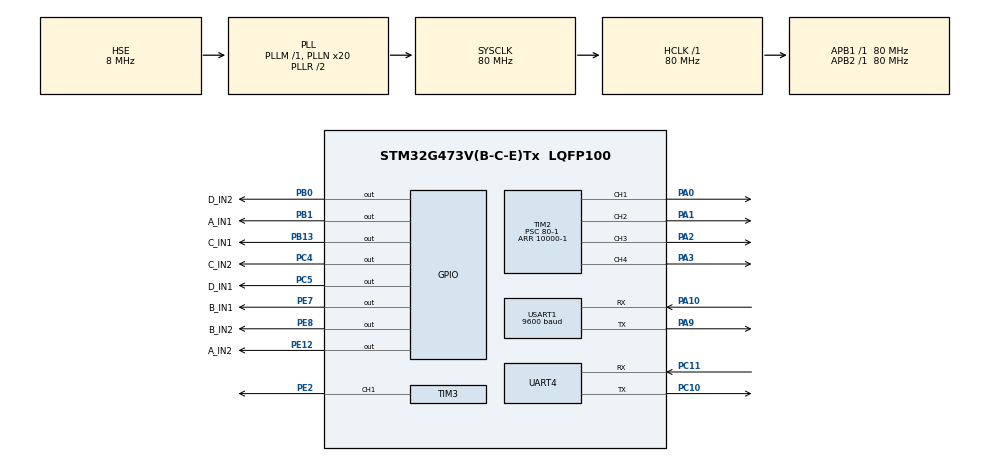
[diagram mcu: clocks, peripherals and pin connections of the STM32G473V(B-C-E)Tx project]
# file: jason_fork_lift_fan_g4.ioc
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Mcu.Family=STM32G4
Mcu.Name=STM32G473V(B-C-E)Tx
Mcu.Package=LQFP100
NVIC.PriorityGroup=NVIC_PRIORITYGROUP_4
PA0.Signal=S_TIM2_CH1
PA1.Signal=S_TIM2_CH2
PA10.Mode=Asynchronous
PA10.Signal=USART1_RX
PA13.Mode=Serial_Wire
PA13.Signal=SYS_JTMS-SWDIO
PA14.Mode=Serial_Wire
PA14.Signal=SYS_JTCK-SWCLK
PA2.Signal=S_TIM2_CH3
PA3.Signal=S_TIM2_CH4
PA9.Mode=Asynchronous
PA9.Signal=USART1_TX
PB0.GPIO_Label=D_IN2
PB0.Signal=GPIO_Output
PB1.GPIO_Label=A_IN1
PB1.Signal=GPIO_Output
PB13.GPIO_Label=C_IN1
PB13.Signal=GPIO_Output
PC10.Mode=Asynchronous
PC10.Signal=UART4_TX
PC11.Mode=Asynchronous
PC11.Signal=UART4_RX
PC14-OSC32_IN.Mode=LSE-External-Oscillator
PC14-OSC32_IN.Signal=RCC_OSC32_IN
PC15-OSC32_OUT.Mode=LSE-External-Oscillator
PC15-OSC32_OUT.Signal=RCC_OSC32_OUT
PC4.GPIO_Label=C_IN2
PC4.Signal=GPIO_Output
PC5.GPIO_Label=D_IN1
PC5.Signal=GPIO_Output
PE12.GPIO_Label=A_IN2
PE12.Signal=GPIO_Output
PE2.Signal=S_TIM3_CH1
PE7.GPIO_Label=B_IN1
PE7.Signal=GPIO_Output
PE8.GPIO_Label=B_IN2
PE8.Signal=GPIO_Output
PF0-OSC_IN.Mode=HSE-External-Oscillator
PF0-OSC_IN.Signal=RCC_OSC_IN
PF1-OSC_OUT.Mode=HSE-External-Oscillator
PF1-OSC_OUT.Signal=RCC_OSC_OUT
ProjectManager.HeapSize=0x200
ProjectManager.StackSize=0x400
ProjectManager.TargetToolchain=STM32CubeIDE
RCC.ADC12Freq_Value=80000000
RCC.ADC345Freq_Value=80000000
RCC.AHBFreq_Value=80000000
RCC.APB1Freq_Value=80000000
RCC.APB1TimFreq_Value=80000000
RCC.APB2Freq_Value=80000000
RCC.APB2TimFreq_Value=80000000
RCC.CortexFreq_Value=80000000
RCC.EXTERNAL_CLOCK_VALUE=12288000
RCC.HCLKFreq_Value=80000000
RCC.HSE_VALUE=8000000
RCC.HSI48_VALUE=48000000
RCC.HSI_VALUE=16000000
RCC.PLLN=20
RCC.PLLSourceVirtual=RCC_PLLSOURCE_HSE
RCC.SYSCLKFreq_VALUE=80000000
RCC.SYSCLKSource=RCC_SYSCLKSOURCE_PLLCLK
RCC.USBFreq_Value=80000000
RCC.VCOOutputFreq_Value=160000000
SH.S_TIM2_CH1.0=TIM2_CH1,PWM Generation1 CH1
SH.S_TIM2_CH2.0=TIM2_CH2,PWM Generation2 CH2
SH.S_TIM2_CH3.0=TIM2_CH3,PWM Generation3 CH3
SH.S_TIM2_CH4.0=TIM2_CH4,PWM Generation4 CH4
SH.S_TIM3_CH1.0=TIM3_CH1,PWM Generation1 CH1
TIM2.AutoReloadPreload=TIM_AUTORELOAD_PRELOAD_ENABLE
TIM2.Channel-PWM\ Generation1\ CH1=TIM_CHANNEL_1
TIM2.Channel-PWM\ Generation2\ CH2=TIM_CHANNEL_2
TIM2.Channel-PWM\ Generation3\ CH3=TIM_CHANNEL_3
TIM2.Channel-PWM\ Generation4\ CH4=TIM_CHANNEL_4
TIM2.PeriodNoDither=10000-1
TIM2.Prescaler=80-1
TIM3.AutoReloadPreload=TIM_AUTORELOAD_PRELOAD_ENABLE
TIM3.Channel-PWM\ Generation1\ CH1=TIM_CHANNEL_1
TIM3.PeriodNoDither=20000-1
TIM3.Prescaler=80-1
USART1.BaudRate=9600
USART1.VirtualMode-Asynchronous=VM_ASYNC
VP_SYS_VS_DBSignals.Mode=DisableDeadBatterySignals
VP_TIM2_VS_ClockSourceINT.Mode=Internal
VP_TIM3_VS_ClockSourceINT.Mode=Internal
board=custom

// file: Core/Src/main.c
/* USER CODE BEGIN Header */
/**
 ******************************************************************************
 * @file           : main.c
 * @brief          : Main program body
 ******************************************************************************
 * @attention
 *
 * Copyright (c) 2025 STMicroelectronics.
 * All rights reserved.
 *
 * This software is licensed under terms that can be found in the LICENSE file
 * in the root directory of this software component.
 * If no LICENSE file comes with this software, it is provided AS-IS.
 *
 ******************************************************************************
 */
/* USER CODE END Header */
#include "main.h"
#include "tim.h"
#include "usart.h"
#include "gpio.h"

/* USER CODE BEGIN Includes */
#include "auto_path.h"
#include "communication.h"
#include "controller.h"
#include "mech.h"
#include "movement.h"
#include "robot.h"
#include "servo.h"

/* USER CODE END Includes */

/* USER CODE BEGIN PD */
#define TEST 1
/* USER CODE END PD */

/* USER CODE BEGIN PV */
int time_stamp = 0;
int test_var = 0;
char testing = 'r';
/* USER CODE END PV */

void SystemClock_Config(void);

int main(void)
{

  /* MCU Configuration--------------------------------------------------------*/

  /* Reset of all peripherals, Initializes the Flash interface and the Systick. */
  HAL_Init();

  /* Configure the system clock */
  SystemClock_Config();

  /* Initialize all configured peripherals */
  MX_GPIO_Init();
  MX_TIM2_Init();
  MX_TIM3_Init();
  MX_USART1_UART_Init();
  MX_UART4_Init();
  /* USER CODE BEGIN 2 */
  HAL_TIM_PWM_Start(&htim2, TIM_CHANNEL_1);
  HAL_TIM_PWM_Start(&htim2, TIM_CHANNEL_2);
  HAL_TIM_PWM_Start(&htim2, TIM_CHANNEL_3);
  HAL_TIM_PWM_Start(&htim2, TIM_CHANNEL_4);
  HAL_TIM_PWM_Start(&htim3, TIM_CHANNEL_1);

  /* USER CODE END 2 */

  /* Infinite loop */
  while (1) {

    /* USER CODE BEGIN 3 */
    HAL_Delay(1);
#if (TEST == 0)
    HAL_UART_Receive(&huart1, controller_buffer, sizeof(controller_buffer), 0xFFFF);
    parse_controller_data(controller_buffer, &controller_state);
    if (controller_state.options_button && !prev_turn_on) {  // turn on/off the robot
      turn_on = !turn_on;
      // HAL_GPIO_WritePin(LED_1_GPIO_Port, LED_1_Pin, turn_on ? GPIO_PIN_RESET : GPIO_PIN_SET);
      if (!turn_on) {
        HAL_GPIO_WritePin(LED_1_GPIO_Port, LED_1_Pin, GPIO_PIN_RESET);
        HAL_GPIO_WritePin(LED_2_GPIO_Port, LED_2_Pin, GPIO_PIN_RESET);
      } else {
        HAL_GPIO_WritePin(LED_1_GPIO_Port, LED_1_Pin, GPIO_PIN_SET);
        HAL_GPIO_WritePin(LED_2_GPIO_Port, LED_2_Pin, GPIO_PIN_SET);
      }
    }
    prev_turn_on = controller_state.options_button;

    if (turn_on) {
      if (auto_path_selection == LEFT_PATH) {
        HAL_GPIO_WritePin(LED_1_GPIO_Port, LED_1_Pin, GPIO_PIN_SET);
        HAL_GPIO_WritePin(LED_2_GPIO_Port, LED_2_Pin, GPIO_PIN_SET);
      } else if (auto_path_selection == MID_PATH) {
        HAL_GPIO_WritePin(LED_1_GPIO_Port, LED_1_Pin, GPIO_PIN_SET);
        HAL_GPIO_WritePin(LED_2_GPIO_Port, LED_2_Pin, GPIO_PIN_RESET);
      } else if (auto_path_selection == RIGHT_PATH) {
        HAL_GPIO_WritePin(LED_1_GPIO_Port, LED_1_Pin, GPIO_PIN_RESET);
        HAL_GPIO_WritePin(LED_2_GPIO_Port, LED_2_Pin, GPIO_PIN_SET);
      }

      float rotation_vel = (controller_state.l2_pressure / 1024.0 + controller_state.r2_pressure / -1024.0) * 100.0;

      if (controller_state.ps_button && !prev_auto_path_enable) {  // auto, line following
        auto_path_enable = !auto_path_enable;
        if (auto_path_enable)
          follow_auto_path(auto_path_selection);
      }
      prev_auto_path_enable = controller_state.ps_button;

      if (controller_state.square && !prev_auto_path_switch) {
        auto_path_switch = !auto_path_switch;
        if (auto_path_selection == LEFT_PATH)
          auto_path_selection = MID_PATH;
        else if (auto_path_selection == MID_PATH)
          auto_path_selection = RIGHT_PATH;
        else if (auto_path_selection == RIGHT_PATH)
          auto_path_selection = LEFT_PATH;
      }  // auto, choose path, toggle left / right / straight forward
      prev_auto_path_switch = controller_state.square;

      if (controller_state.r2 || controller_state.l2) {
        BaseVelocity target_vel = {0, 0, rotation_vel / 100.0 * ROBOT_MAX_Z_VELOCITY * 0.35};
        movement_control(target_vel);
      } else if (controller_state.r1) {
        BaseVelocity target_vel = {0, 0, ROBOT_MAX_Z_VELOCITY * -0.2};
        movement_control(target_vel);
      } else if (controller_state.l1) {
        BaseVelocity target_vel = {0, 0, ROBOT_MAX_Z_VELOCITY * 0.2};
        movement_control(target_vel);
      } else if (controller_state.up) {
        BaseVelocity target_vel = {0,
                                   ROBOT_MAX_Y_VELOCITY * 0.5,
                                   0};
        movement_control(target_vel);
      } else if (controller_state.down) {
        BaseVelocity target_vel = {0,
                                   ROBOT_MAX_Y_VELOCITY * -0.5,
                                   0};
        movement_control(target_vel);
      } else if (controller_state.left) {
        BaseVelocity target_vel = {ROBOT_MAX_X_VELOCITY * 0.5,
                                   0,
                                   0};
        movement_control(target_vel);
      } else if (controller_state.right) {
        BaseVelocity target_vel = {ROBOT_MAX_X_VELOCITY * -0.5,
                                   0,
                                   0};
        movement_control(target_vel);
      } else {
        WheelPWM target_pwm = {0, 0, 0, 0};
        wheels_control(target_pwm);
      }

      if (controller_state.triangle && !prev_turn_on_fan) {
        turn_on_fan = !turn_on_fan;
        fan_operation(turn_on_fan);
      }
      prev_turn_on_fan = controller_state.triangle;
    }
#else
    // test uart
    // HAL_UART_Receive(&huart1, controller_buffer, sizeof(controller_buffer), 0xFFFF);
    // parse_controller_data(controller_buffer, &controller_state);
    // if (controller_state.options_button && !prev_turn_on) {  // turn on/off the robot
    //   turn_on = !turn_on;
    //   // HAL_GPIO_WritePin(LED_1_GPIO_Port, LED_1_Pin, turn_on ? GPIO_PIN_RESET : GPIO_PIN_SET);
    //   if (!turn_on) {
    //     HAL_GPIO_WritePin(LED_1_GPIO_Port, LED_1_Pin, GPIO_PIN_RESET);
    //     HAL_GPIO_WritePin(LED_2_GPIO_Port, LED_2_Pin, GPIO_PIN_RESET);
    //   } else {
    //     HAL_GPIO_WritePin(LED_1_GPIO_Port, LED_1_Pin, GPIO_PIN_SET);
    //     HAL_GPIO_WritePin(LED_2_GPIO_Port, LED_2_Pin, GPIO_PIN_SET);
    //   }
    // }
    // prev_turn_on = controller_state.options_button;

    // test motor
    // TIM2->CCR1 = 10000 / 2; // 1.65V // PC0
    // TIM2->CCR2 = 10000 / 2; // 1.65V // PC1
    // TIM2->CCR3 = 10000 / 2; // 1.65V // PA2
    // TIM2->CCR4 = 10000 / 2; // 1.65V // PA3

    // BaseVelocity target_vel = {0,
    //                            ROBOT_MAX_Y_VELOCITY * -0.5,
    //                            0};
    // movement_control(target_vel);
    // BaseVelocity target_vel = {ROBOT_MAX_X_VELOCITY * 0.5,
    //                                0,
    //                                0};
    // movement_control(target_vel);

    // servo_move(&(servos[0]), 400);
    // servo_move(&(servos[1]), 400);
    // servo_move(&(servos[2]), 400);
    // servo_move(&(servos[3]), 400);

    // test fan
    // TIM3->CCR1 = 1500; // 2.475V // PE2

    // test communication
    HAL_UART_Transmit(&huart4, &testing, 1, HAL_MAX_DELAY);
    // if (HAL_GetTick() - time_stamp > 5000) {
    //   communication_state.servo_id1_ccr = 0;
    //   communication_state.servo_id2_ccr = 0;
    //   communication_state.servo_id3_ccr = 0;
    //   communication_state.servo_id4_ccr = 0;
    // } else {
    //   communication_state.servo_id1_ccr = 123;
    //   communication_state.servo_id2_ccr = 456;
    //   communication_state.servo_id3_ccr = 789;
    //   communication_state.servo_id4_ccr = 1011;
    // }
    // communication_send_data(&communication_state);
#endif
  }
  /* USER CODE END 3 */
}

void SystemClock_Config(void)
{
  RCC_OscInitTypeDef RCC_OscInitStruct = {0};
  RCC_ClkInitTypeDef RCC_ClkInitStruct = {0};

  /** Configure the main internal regulator output voltage
  */
  HAL_PWREx_ControlVoltageScaling(PWR_REGULATOR_VOLTAGE_SCALE1);

  /** Initializes the RCC Oscillators according to the specified parameters
  * in the RCC_OscInitTypeDef structure.
  */
  RCC_OscInitStruct.OscillatorType = RCC_OSCILLATORTYPE_HSE;
  RCC_OscInitStruct.HSEState = RCC_HSE_ON;
  RCC_OscInitStruct.PLL.PLLState = RCC_PLL_ON;
  RCC_OscInitStruct.PLL.PLLSource = RCC_PLLSOURCE_HSE;
  RCC_OscInitStruct.PLL.PLLM = RCC_PLLM_DIV1;
  RCC_OscInitStruct.PLL.PLLN = 20;
  RCC_OscInitStruct.PLL.PLLP = RCC_PLLP_DIV2;
  RCC_OscInitStruct.PLL.PLLQ = RCC_PLLQ_DIV2;
  RCC_OscInitStruct.PLL.PLLR = RCC_PLLR_DIV2;
  if (HAL_RCC_OscConfig(&RCC_OscInitStruct) != HAL_OK)
  {
    Error_Handler();
  }

  /** Initializes the CPU, AHB and APB buses clocks
  */
  RCC_ClkInitStruct.ClockType = RCC_CLOCKTYPE_HCLK|RCC_CLOCKTYPE_SYSCLK
                              |RCC_CLOCKTYPE_PCLK1|RCC_CLOCKTYPE_PCLK2;
  RCC_ClkInitStruct.SYSCLKSource = RCC_SYSCLKSOURCE_PLLCLK;
  RCC_ClkInitStruct.AHBCLKDivider = RCC_SYSCLK_DIV1;
  RCC_ClkInitStruct.APB1CLKDivider = RCC_HCLK_DIV1;
  RCC_ClkInitStruct.APB2CLKDivider = RCC_HCLK_DIV1;

  if (HAL_RCC_ClockConfig(&RCC_ClkInitStruct, FLASH_LATENCY_2) != HAL_OK)
  {
    Error_Handler();
  }
}

void Error_Handler(void)
{
  __disable_irq();
  while (1) {
  }
}
